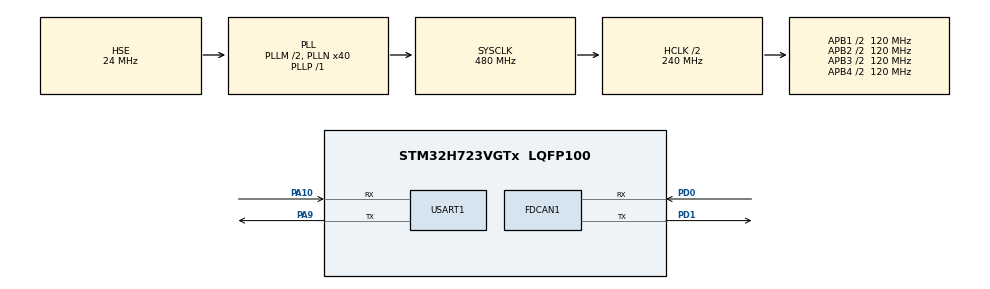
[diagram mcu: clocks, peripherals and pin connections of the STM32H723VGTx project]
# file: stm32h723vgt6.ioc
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CORTEX_M7.default_mode_Activation=1
FDCAN1.CalculateBaudRateNominal=1000000
FDCAN1.CalculateTimeBitNominal=1000
FDCAN1.CalculateTimeQuantumNominal=25.0
FDCAN1.DataPrescaler=3
FDCAN1.DataSyncJumpWidth=10
FDCAN1.DataTimeSeg1=29
FDCAN1.DataTimeSeg2=10
FDCAN1.NominalPrescaler=3
FDCAN1.NominalSyncJumpWidth=10
FDCAN1.NominalTimeSeg1=29
FDCAN1.NominalTimeSeg2=10
FDCAN1.RxFifo0ElmtsNbr=2
FDCAN1.StdFiltersNbr=1
FDCAN1.TxBuffersNbr=0
FDCAN1.TxFifoQueueElmtsNbr=32
Mcu.Family=STM32H7
Mcu.Name=STM32H723VGTx
Mcu.Package=LQFP100
NVIC.FDCAN1_IT0_IRQn=true\:0\:0\:false\:false\:true\:true\:true\:true
NVIC.PriorityGroup=NVIC_PRIORITYGROUP_4
NVIC.TIM2_IRQn=true\:0\:0\:false\:false\:true\:true\:true\:true
PA10.Mode=Asynchronous
PA10.Signal=USART1_RX
PA13(JTMS/SWDIO).Mode=Serial_Wire
PA13(JTMS/SWDIO).Signal=DEBUG_JTMS-SWDIO
PA14(JTCK/SWCLK).Mode=Serial_Wire
PA14(JTCK/SWCLK).Signal=DEBUG_JTCK-SWCLK
PA9.Mode=Asynchronous
PA9.Signal=USART1_TX
PD0.Mode=FDCAN_Activate
PD0.Signal=FDCAN1_RX
PD1.Mode=FDCAN_Activate
PD1.Signal=FDCAN1_TX
PH0-OSC_IN.Mode=HSE-External-Oscillator
PH0-OSC_IN.Signal=RCC_OSC_IN
PH1-OSC_OUT.Mode=HSE-External-Oscillator
PH1-OSC_OUT.Signal=RCC_OSC_OUT
ProjectManager.HeapSize=0x200
ProjectManager.StackSize=0x400
ProjectManager.TargetToolchain=MDK-ARM V5.32
RCC.ADCFreq_Value=48375000
RCC.APB1Freq_Value=120000000
RCC.APB2Freq_Value=120000000
RCC.APB3Freq_Value=120000000
RCC.APB4Freq_Value=120000000
RCC.CortexFreq_Value=480000000
RCC.D1PPRE=RCC_APB3_DIV2
RCC.D2PPRE1=RCC_APB1_DIV2
RCC.D2PPRE2=RCC_APB2_DIV2
RCC.D3PPRE=RCC_APB4_DIV2
RCC.DIVM1=2
RCC.DIVN1=40
RCC.DIVP1=1
RCC.DIVQ1=4
RCC.HCLKFreq_Value=240000000
RCC.HPRE=RCC_HCLK_DIV2
RCC.HSE_VALUE=24000000
RCC.PLLFRACN=0
RCC.PLLSourceVirtual=RCC_PLLSOURCE_HSE
RCC.SYSCLKFreq_VALUE=480000000
RCC.SYSCLKSource=RCC_SYSCLKSOURCE_PLLCLK
RCC.USBFreq_Value=120000000
TIM2.Period=1000-1
TIM2.Prescaler=240-1
USART1.VirtualMode-Asynchronous=VM_ASYNC
VP_MEMORYMAP_VS_MEMORYMAP.Mode=CurAppReg
VP_TIM2_VS_ClockSourceINT.Mode=Internal
board=custom

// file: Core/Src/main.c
/* USER CODE BEGIN Header */
/**
  ******************************************************************************
  * @file           : main.c
  * @brief          : Main program body
  ******************************************************************************
  * @attention
  *
  * Copyright (c) 2026 STMicroelectronics.
  * All rights reserved.
  *
  * This software is licensed under terms that can be found in the LICENSE file
  * in the root directory of this software component.
  * If no LICENSE file comes with this software, it is provided AS-IS.
  *
  ******************************************************************************
  */
/* USER CODE END Header */
#include "main.h"
#include "fdcan.h"
#include "tim.h"
#include "usart.h"
#include "gpio.h"

/* USER CODE BEGIN Includes */
#include <stdio.h>
#include "app_motorctrl.h"
#include "pid.h"

/* USER CODE END Includes */

/* USER CODE BEGIN PV */
uint8_t fdcan_buffer[8]; 		//Fdcan接收缓冲区

extern MotorData motor1;

PidTypedef pid_speed;   		//定义速度环为内环
Pid_Set_Typedef pid_speed_set;
float PID_speed[3] = {0.1,0.0006,0};	//Pid三参数

PidTypedef pid_loca;			//定义位置环为外环
Pid_Set_Typedef pid_loca_set;
float PID_loca[3] = {16,0,30};	//Pid三参数

uint8_t mode1 = 1;				//1为单环2为双环
float Target = 0.0f;			//目标值
float vTarget = 0.0f;			//双环时为位置环的输出值，速度环的目标值

/* USER CODE END PV */

void SystemClock_Config(void);
static void MPU_Config(void);

int main(void)
{

  /* MPU Configuration--------------------------------------------------------*/
  MPU_Config();

  /* MCU Configuration--------------------------------------------------------*/

  /* Reset of all peripherals, Initializes the Flash interface and the Systick. */
  HAL_Init();

  /* Configure the system clock */
  SystemClock_Config();

  /* Initialize all configured peripherals */
  MX_GPIO_Init();
  MX_FDCAN1_Init();
  MX_USART1_UART_Init();
  MX_TIM2_Init();
  /* USER CODE BEGIN 2 */
	FDCAN_Init();				//开启相关中断
	Motor_Init();				//初始化motor1参数
	enable_motor(&motor1);		//发送使能帧

	pid_speed.Initlized = false;//初始化pid相关参数
	pid_loca.Initlized = false;

	HAL_TIM_Base_Start_IT(&htim2);

//	PID_loca[0] = 0.0f;
//	PID_loca[1] = 0.0f;
//	PID_loca[2] = 0.0f;
  /* USER CODE END 2 */

  /* Infinite loop */
  /* USER CODE BEGIN WHILE */
  while (1)
  {
	    /*串口发送*/
//		sent_vofa(Target,motor1.rxpara.rVEL,motor1.sT,motor1.rxpara.rT);//单环时解除注释
//	    sent_vofa(Target,motor1.rxpara.rPOS,vTarget,motor1.rxpara.rT);//双环时解除注释，只能解除一个
//
//		/*串口测试*/
//	    sent_vofa(3.13,3.1,31.1,31.3);
//	    printf("Running\n");

	  HAL_Delay(100);
    /* USER CODE END WHILE */

  }
}

void SystemClock_Config(void)
{
  RCC_OscInitTypeDef RCC_OscInitStruct = {0};
  RCC_ClkInitTypeDef RCC_ClkInitStruct = {0};

  /** Supply configuration update enable
  */
  HAL_PWREx_ConfigSupply(PWR_LDO_SUPPLY);

  /** Configure the main internal regulator output voltage
  */
  __HAL_PWR_VOLTAGESCALING_CONFIG(PWR_REGULATOR_VOLTAGE_SCALE0);

  while(!__HAL_PWR_GET_FLAG(PWR_FLAG_VOSRDY)) {}

  /** Initializes the RCC Oscillators according to the specified parameters
  * in the RCC_OscInitTypeDef structure.
  */
  RCC_OscInitStruct.OscillatorType = RCC_OSCILLATORTYPE_HSE;
  RCC_OscInitStruct.HSEState = RCC_HSE_ON;
  RCC_OscInitStruct.PLL.PLLState = RCC_PLL_ON;
  RCC_OscInitStruct.PLL.PLLSource = RCC_PLLSOURCE_HSE;
  RCC_OscInitStruct.PLL.PLLM = 2;
  RCC_OscInitStruct.PLL.PLLN = 40;
  RCC_OscInitStruct.PLL.PLLP = 1;
  RCC_OscInitStruct.PLL.PLLQ = 4;
  RCC_OscInitStruct.PLL.PLLR = 2;
  RCC_OscInitStruct.PLL.PLLRGE = RCC_PLL1VCIRANGE_3;
  RCC_OscInitStruct.PLL.PLLVCOSEL = RCC_PLL1VCOWIDE;
  RCC_OscInitStruct.PLL.PLLFRACN = 0;
  if (HAL_RCC_OscConfig(&RCC_OscInitStruct) != HAL_OK)
  {
    Error_Handler();
  }

  /** Initializes the CPU, AHB and APB buses clocks
  */
  RCC_ClkInitStruct.ClockType = RCC_CLOCKTYPE_HCLK|RCC_CLOCKTYPE_SYSCLK
                              |RCC_CLOCKTYPE_PCLK1|RCC_CLOCKTYPE_PCLK2
                              |RCC_CLOCKTYPE_D3PCLK1|RCC_CLOCKTYPE_D1PCLK1;
  RCC_ClkInitStruct.SYSCLKSource = RCC_SYSCLKSOURCE_PLLCLK;
  RCC_ClkInitStruct.SYSCLKDivider = RCC_SYSCLK_DIV1;
  RCC_ClkInitStruct.AHBCLKDivider = RCC_HCLK_DIV2;
  RCC_ClkInitStruct.APB3CLKDivider = RCC_APB3_DIV2;
  RCC_ClkInitStruct.APB1CLKDivider = RCC_APB1_DIV2;
  RCC_ClkInitStruct.APB2CLKDivider = RCC_APB2_DIV2;
  RCC_ClkInitStruct.APB4CLKDivider = RCC_APB4_DIV2;

  if (HAL_RCC_ClockConfig(&RCC_ClkInitStruct, FLASH_LATENCY_3) != HAL_OK)
  {
    Error_Handler();
  }
}

/* USER CODE BEGIN 4 */
/*FDCAN1接收回调函数*/
void HAL_FDCAN_RxFifo0Callback(FDCAN_HandleTypeDef *hfdcan, uint32_t RxFifo0ITs)
{
	FDCAN_RxHeaderTypeDef Rx_Header;
	uint32_t ID;

	if(HAL_FDCAN_GetRxMessage(&hfdcan1,FDCAN_RX_FIFO0,&Rx_Header,fdcan_buffer) == HAL_OK)
	{
		ID = Rx_Header.Identifier;
	}

	if(ID == motor1.MST_ID)
	{
		Get_MotorData(fdcan_buffer,&motor1);
	}
}

/*TIM2中断回调函数*/
uint32_t cnt;

//调试用到的变量
float v = 3.0f;
void HAL_TIM_PeriodElapsedCallback(TIM_HandleTypeDef *htim)
{
    if (htim->Instance == TIM2)
    {
		cnt ++;
		if(cnt > 3000)
		{
			cnt = 0;
			if(Target==0.0f)//方波
			{
				Target = v;
			}
			else if(Target == v)
			{
				Target=0.0f;
			}
		}

		if(mode1 == 1)//单环模式
		{
			PID_init(&pid_speed,0,PID_speed,motor1.TMAX,100);
			motor1.sT = PID_Calc(&pid_speed,motor1.rxpara.rVEL,Target);//获取实际值目标值，计算得出OUT值，赋值给力矩
			Sent_MotorData(&motor1);//发送CAN报文
		}

		if(mode1 == 2)//双环模式
		{
			PID_init(&pid_speed,0,PID_speed,motor1.TMAX,100);
			motor1.sT = PID_Calc(&pid_speed,motor1.rxpara.rVEL,vTarget);//获取实际值目标值，计算得出OUT值，赋值给力矩
			Sent_MotorData(&motor1);//发送CAN报文

			PID_init(&pid_loca,0,PID_loca,motor1.VMAX,100);
			vTarget = PID_Calc(&pid_loca,motor1.rxpara.rPOS,Target);//获取实际值目标值，计算得出OUT值，赋值给速度环的目标值
		}
    }
}

/*重写fputc使用非阻塞版本*/
int fputc(int ch, FILE *f)
{
	HAL_UART_Transmit(&huart1,(uint8_t*)&ch,1,HAL_MAX_DELAY);
    return ch;
}

/* USER CODE END 4 */

 /* MPU Configuration */

void MPU_Config(void)
{
  MPU_Region_InitTypeDef MPU_InitStruct = {0};

  /* Disables the MPU */
  HAL_MPU_Disable();

  /** Initializes and configures the Region and the memory to be protected
  */
  MPU_InitStruct.Enable = MPU_REGION_ENABLE;
  MPU_InitStruct.Number = MPU_REGION_NUMBER0;
  MPU_InitStruct.BaseAddress = 0x0;
  MPU_InitStruct.Size = MPU_REGION_SIZE_4GB;
  MPU_InitStruct.SubRegionDisable = 0x87;
  MPU_InitStruct.TypeExtField = MPU_TEX_LEVEL0;
  MPU_InitStruct.AccessPermission = MPU_REGION_NO_ACCESS;
  MPU_InitStruct.DisableExec = MPU_INSTRUCTION_ACCESS_DISABLE;
  MPU_InitStruct.IsShareable = MPU_ACCESS_SHAREABLE;
  MPU_InitStruct.IsCacheable = MPU_ACCESS_NOT_CACHEABLE;
  MPU_InitStruct.IsBufferable = MPU_ACCESS_NOT_BUFFERABLE;

  HAL_MPU_ConfigRegion(&MPU_InitStruct);
  /* Enables the MPU */
  HAL_MPU_Enable(MPU_PRIVILEGED_DEFAULT);

}

void Error_Handler(void)
{
  __disable_irq();
  while (1)
  {
  }
}
